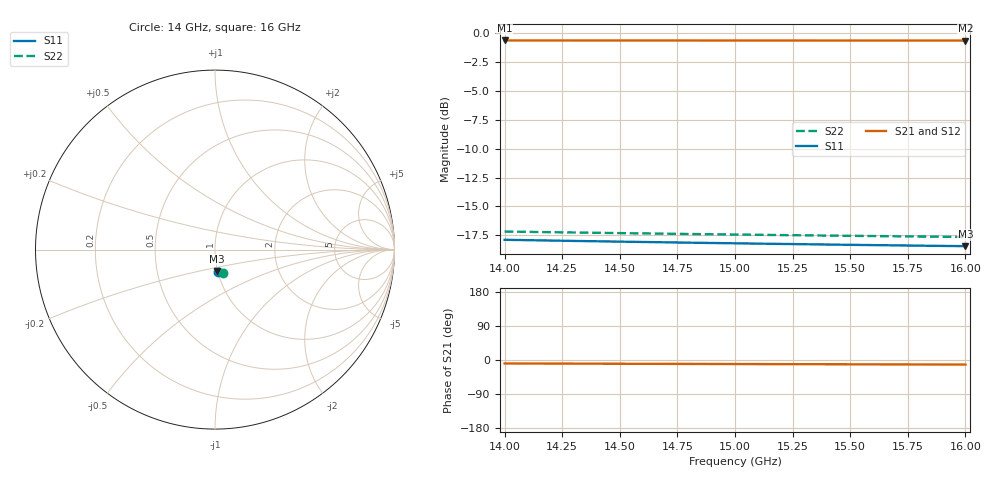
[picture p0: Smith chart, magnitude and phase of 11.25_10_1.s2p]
! Created Fri Dec 11 14:14:40 2020
# hz S ma R 50
! 2 Port Network Data from Sweep1.SP1.SP block
! freq  magS11  angS11  magS21  angS21  magS12  angS12  magS22  angS22
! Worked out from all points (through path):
!   21 points, 14 GHz to 16 GHz, reference 50 ohm
!   highest |S21| = -0.61 dB at 14 GHz (marker M1); lowest = -0.6 dB at 16 GHz (marker M2)
!   group delay of S21, straight-line fit = 3.98 ps
!   lowest |S11| = -18.4 dB at 16 GHz (marker M3), VSWR 1.27, Z = 49.8 - j12 ohm
!   |S11| at or under -10 dB: start of sweep to end of sweep
!   |S22| runs from -17.6 to -17.2 dB; largest |S21 - S12| = 2.6e-09
1.4e10  0.1276 -83.4  0.9324 -9.2  0.9324 -9.2  0.1385 -71.8
1.41e10  0.1271 -83.4  0.9324 -9.3  0.9324 -9.3  0.1381 -71.8
1.42e10  0.1266 -83.5  0.9323 -9.5  0.9323 -9.5  0.1376 -71.8
1.43e10  0.1261 -83.5  0.9323 -9.6  0.9323 -9.6  0.1372 -71.8
1.44e10  0.1257 -83.5  0.9322 -9.8  0.9322 -9.8  0.1368 -71.8
1.45e10  0.1252 -83.5  0.9322 -9.9  0.9322 -9.9  0.1363 -71.8
1.46e10  0.1248 -83.6  0.9321 -10.1  0.9321 -10.1  0.1359 -71.8
1.47e10  0.1244 -83.6  0.9321 -10.2  0.9321 -10.2  0.1355 -71.8
1.48e10  0.1239 -83.6  0.932 -10.3  0.932 -10.3  0.1352 -71.8
1.49e10  0.1235 -83.7  0.932 -10.5  0.932 -10.5  0.1348 -71.9
1.5e10  0.1231 -83.7  0.9319 -10.6  0.9319 -10.6  0.1344 -71.9
1.51e10  0.1228 -83.7  0.9319 -10.8  0.9319 -10.8  0.1341 -71.9
1.52e10  0.1224 -83.8  0.9318 -10.9  0.9318 -10.9  0.1337 -71.9
1.53e10  0.122 -83.8  0.9318 -11.1  0.9318 -11.1  0.1334 -71.9
1.54e10  0.1217 -83.8  0.9317 -11.2  0.9317 -11.2  0.133 -71.9
1.55e10  0.1213 -83.8  0.9317 -11.3  0.9317 -11.3  0.1327 -72.0
1.56e10  0.121 -83.9  0.9316 -11.5  0.9316 -11.5  0.1324 -72.0
1.57e10  0.1206 -83.9  0.9315 -11.6  0.9315 -11.6  0.1321 -72.0
1.58e10  0.1203 -83.9  0.9315 -11.8  0.9315 -11.8  0.1318 -72.0
1.59e10  0.12 -84.0  0.9314 -11.9  0.9314 -11.9  0.1315 -72.1
1.6e10  0.1197 -84.0  0.9314 -12.0  0.9314 -12.0  0.1312 -72.1
